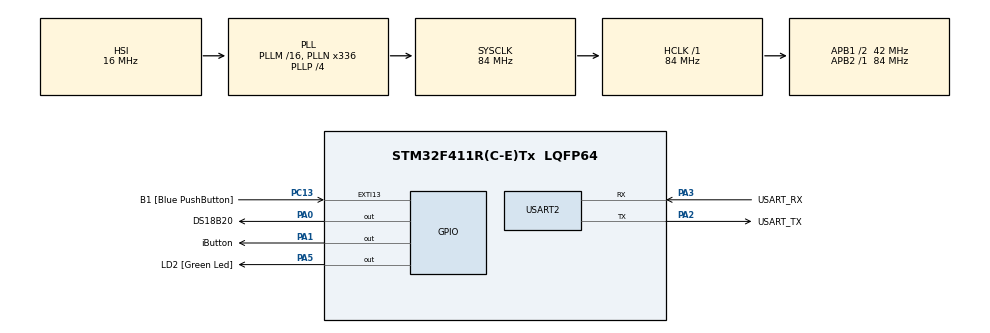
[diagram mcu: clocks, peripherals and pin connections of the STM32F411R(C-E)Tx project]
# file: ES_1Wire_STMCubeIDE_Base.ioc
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Mcu.Family=STM32F4
Mcu.Name=STM32F411R(C-E)Tx
Mcu.Package=LQFP64
NVIC.PriorityGroup=NVIC_PRIORITYGROUP_0
PA0-WKUP.GPIO_Label=DS18B20
PA0-WKUP.Signal=GPIO_Output
PA1.GPIO_Label=iButton
PA1.Signal=GPIO_Output
PA13.GPIO_Label=TMS
PA13.Mode=Serial_Wire
PA13.Signal=SYS_JTMS-SWDIO
PA14.GPIO_Label=TCK
PA14.Mode=Serial_Wire
PA14.Signal=SYS_JTCK-SWCLK
PA2.GPIO_Label=USART_TX
PA2.Mode=Asynchronous
PA2.Signal=USART2_TX
PA3.GPIO_Label=USART_RX
PA3.Mode=Asynchronous
PA3.Signal=USART2_RX
PA5.GPIO_Label=LD2 [Green Led]
PA5.Signal=GPIO_Output
PB3.GPIO_Label=SWO
PB3.Signal=SYS_JTDO-SWO
PC13-ANTI_TAMP.GPIO_Label=B1 [Blue PushButton]
PC13-ANTI_TAMP.GPIO_ModeDefaultEXTI=GPIO_MODE_IT_FALLING
PC13-ANTI_TAMP.Signal=GPXTI13
PC14-OSC32_IN.Mode=LSE-External-Oscillator
PC14-OSC32_IN.Signal=RCC_OSC32_IN
PC15-OSC32_OUT.Mode=LSE-External-Oscillator
PC15-OSC32_OUT.Signal=RCC_OSC32_OUT
PH0\ -\ OSC_IN.Mode=HSE-External-Clock-Source
PH0\ -\ OSC_IN.Signal=RCC_OSC_IN
PH1\ -\ OSC_OUT.Mode=HSE-External-Clock-Source
PH1\ -\ OSC_OUT.Signal=RCC_OSC_OUT
ProjectManager.HeapSize=0x200
ProjectManager.StackSize=0x400
ProjectManager.TargetToolchain=STM32CubeIDE
RCC.48MHZClocksFreq_Value=84000000
RCC.AHBFreq_Value=84000000
RCC.APB1CLKDivider=RCC_HCLK_DIV2
RCC.APB1Freq_Value=42000000
RCC.APB1TimFreq_Value=84000000
RCC.APB2Freq_Value=84000000
RCC.APB2TimFreq_Value=84000000
RCC.CortexFreq_Value=84000000
RCC.FLatency-AdvancedSettings=FLASH_LATENCY_2
RCC.HCLKFreq_Value=84000000
RCC.HSE_VALUE=8000000
RCC.HSI_VALUE=16000000
RCC.PLLN=336
RCC.PLLP=RCC_PLLP_DIV4
RCC.SYSCLKFreq_VALUE=84000000
RCC.SYSCLKSource=RCC_SYSCLKSOURCE_PLLCLK
RCC.VCOOutputFreq_Value=336000000
USART2.VirtualMode=VM_ASYNC
board=NUCLEO-F411RE

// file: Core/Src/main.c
/* USER CODE BEGIN Header */
/**
  ******************************************************************************
  * @file           : main.c
  * @brief          : Main program body
  ******************************************************************************
  * @attention
  *
  * Copyright (c) 2022 STMicroelectronics.
  * All rights reserved.
  *
  * This software is licensed under terms that can be found in the LICENSE file
  * in the root directory of this software component.
  * If no LICENSE file comes with this software, it is provided AS-IS.
  *
  ******************************************************************************
  */
/* USER CODE END Header */
#include "main.h"

/* USER CODE BEGIN Includes */
#include "string.h"
#include "stdio.h"
/* USER CODE END Includes */

/* USER CODE BEGIN PTD */
#define DQ			DS18B20_Pin					// Definicja pinu dla magistrali 1-Wire
												// Do wyboru:	iButton_Pin - DS1920
												// 				DS18B20_Pin - DS18B20
#define DQ_Port		DS18B20_GPIO_Port			// Definicja portu dla magistrali 1-Wire
												// Do wyboru:	iButton_GPIO_Port - DS1920
												// 				DS18B20_GPIO_Port - DS18B20
/* USER CODE END PTD */

UART_HandleTypeDef huart2;

/* USER CODE BEGIN PV */
char SendRSData[20];						// Bufor na dane wysylane przez UART2
char DQ_Value;								// Pomocnicza zmienna do przechowywania wartości z linii DQ
uint8_t Iter = 0;
/* USER CODE END PV */

void SystemClock_Config(void);
static void MX_GPIO_Init(void);
static void MX_USART2_UART_Init(void);
/* USER CODE BEGIN PFP */
void Write_DQ(uint8_t);		// Funkcja do zapisu lini danych DQ
char Read_DQ(void);			// Funkcja do odczytu lini danych DQ
/* USER CODE END PFP */

int main(void)
{

  /* MCU Configuration--------------------------------------------------------*/

  /* Reset of all peripherals, Initializes the Flash interface and the Systick. */
  HAL_Init();

  /* Configure the system clock */
  SystemClock_Config();

  /* Initialize all configured peripherals */
  MX_GPIO_Init();
  MX_USART2_UART_Init();

  /* Infinite loop */
  /* USER CODE BEGIN WHILE */
  while (1)
  {
	  Write_DQ(0);
	  HAL_Delay(1);
	  Write_DQ(1);
	  HAL_Delay(1);
	  DQ_Value = Read_DQ();
	  sprintf(SendRSData, "PUE-2020: %d \n\r", Iter++);
	  HAL_UART_Transmit( &huart2, (uint8_t *) SendRSData, strlen(SendRSData),100 );
    /* USER CODE END WHILE */

  }
}

void SystemClock_Config(void)
{
  RCC_OscInitTypeDef RCC_OscInitStruct = {0};
  RCC_ClkInitTypeDef RCC_ClkInitStruct = {0};

  /** Configure the main internal regulator output voltage
  */
  __HAL_RCC_PWR_CLK_ENABLE();
  __HAL_PWR_VOLTAGESCALING_CONFIG(PWR_REGULATOR_VOLTAGE_SCALE1);
  /** Initializes the RCC Oscillators according to the specified parameters
  * in the RCC_OscInitTypeDef structure.
  */
  RCC_OscInitStruct.OscillatorType = RCC_OSCILLATORTYPE_HSI;
  RCC_OscInitStruct.HSIState = RCC_HSI_ON;
  RCC_OscInitStruct.HSICalibrationValue = RCC_HSICALIBRATION_DEFAULT;
  RCC_OscInitStruct.PLL.PLLState = RCC_PLL_ON;
  RCC_OscInitStruct.PLL.PLLSource = RCC_PLLSOURCE_HSI;
  RCC_OscInitStruct.PLL.PLLM = 16;
  RCC_OscInitStruct.PLL.PLLN = 336;
  RCC_OscInitStruct.PLL.PLLP = RCC_PLLP_DIV4;
  RCC_OscInitStruct.PLL.PLLQ = 4;
  if (HAL_RCC_OscConfig(&RCC_OscInitStruct) != HAL_OK)
  {
    Error_Handler();
  }
  /** Initializes the CPU, AHB and APB buses clocks
  */
  RCC_ClkInitStruct.ClockType = RCC_CLOCKTYPE_HCLK|RCC_CLOCKTYPE_SYSCLK
                              |RCC_CLOCKTYPE_PCLK1|RCC_CLOCKTYPE_PCLK2;
  RCC_ClkInitStruct.SYSCLKSource = RCC_SYSCLKSOURCE_PLLCLK;
  RCC_ClkInitStruct.AHBCLKDivider = RCC_SYSCLK_DIV1;
  RCC_ClkInitStruct.APB1CLKDivider = RCC_HCLK_DIV2;
  RCC_ClkInitStruct.APB2CLKDivider = RCC_HCLK_DIV1;

  if (HAL_RCC_ClockConfig(&RCC_ClkInitStruct, FLASH_LATENCY_2) != HAL_OK)
  {
    Error_Handler();
  }
}

static void MX_USART2_UART_Init(void)
{

  huart2.Instance = USART2;
  huart2.Init.BaudRate = 115200;
  huart2.Init.WordLength = UART_WORDLENGTH_8B;
  huart2.Init.StopBits = UART_STOPBITS_1;
  huart2.Init.Parity = UART_PARITY_NONE;
  huart2.Init.Mode = UART_MODE_TX_RX;
  huart2.Init.HwFlowCtl = UART_HWCONTROL_NONE;
  huart2.Init.OverSampling = UART_OVERSAMPLING_16;
  if (HAL_UART_Init(&huart2) != HAL_OK)
  {
    Error_Handler();
  }

}

static void MX_GPIO_Init(void)
{
  GPIO_InitTypeDef GPIO_InitStruct = {0};

  /* GPIO Ports Clock Enable */
  __HAL_RCC_GPIOC_CLK_ENABLE();
  __HAL_RCC_GPIOH_CLK_ENABLE();
  __HAL_RCC_GPIOA_CLK_ENABLE();
  __HAL_RCC_GPIOB_CLK_ENABLE();

  /*Configure GPIO pin Output Level */
  HAL_GPIO_WritePin(GPIOA, DS18B20_Pin|iButton_Pin|LD2_Pin, GPIO_PIN_RESET);

  /*Configure GPIO pin : B1_Pin */
  GPIO_InitStruct.Pin = B1_Pin;
  GPIO_InitStruct.Mode = GPIO_MODE_IT_FALLING;
  GPIO_InitStruct.Pull = GPIO_NOPULL;
  HAL_GPIO_Init(B1_GPIO_Port, &GPIO_InitStruct);

  /*Configure GPIO pins : DS18B20_Pin iButton_Pin LD2_Pin */
  GPIO_InitStruct.Pin = DS18B20_Pin|iButton_Pin|LD2_Pin;
  GPIO_InitStruct.Mode = GPIO_MODE_OUTPUT_PP;
  GPIO_InitStruct.Pull = GPIO_NOPULL;
  GPIO_InitStruct.Speed = GPIO_SPEED_FREQ_LOW;
  HAL_GPIO_Init(GPIOA, &GPIO_InitStruct);

}

/* USER CODE BEGIN 4 */
// Zapis linii danych magistrali 1-Wire
void Write_DQ(uint8_t DQValue)
{
	if (DQValue == 0) HAL_GPIO_WritePin(DQ_Port,DQ,GPIO_PIN_RESET);
	else HAL_GPIO_WritePin(DQ_Port,DQ,GPIO_PIN_SET);
}
// END - Zapis linii danych

// Odczyt linii danych magistrali 1-Wire
char Read_DQ(void)
{
	return HAL_GPIO_ReadPin(DQ_Port,DQ);
}
// END - Odczyt linii danych
/* USER CODE END 4 */

void Error_Handler(void)
{
  __disable_irq();
  while (1)
  {
  }
}
